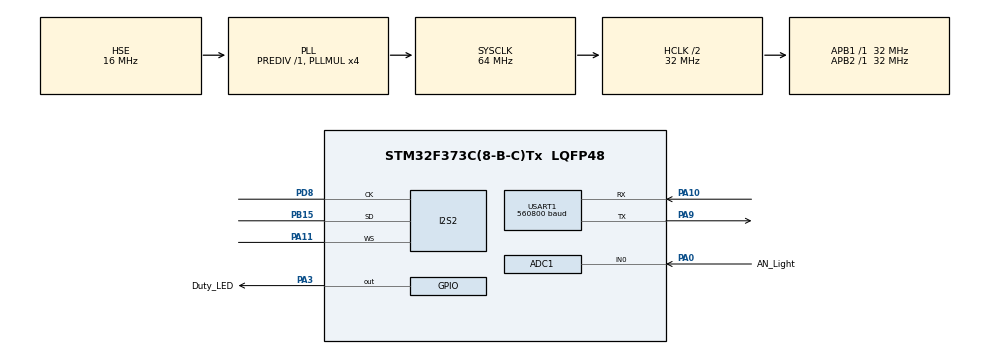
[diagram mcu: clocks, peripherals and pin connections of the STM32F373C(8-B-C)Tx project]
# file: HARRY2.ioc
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ADC1.ContinuousConvMode=DISABLE
ADC1.EnableRegularConversion=DISABLE
ADC1.master=1
Dma.Request0=SPI2_RX
Dma.SPI2_RX.0.Direction=DMA_PERIPH_TO_MEMORY
Dma.SPI2_RX.0.Instance=DMA1_Channel4
Dma.SPI2_RX.0.MemDataAlignment=DMA_MDATAALIGN_HALFWORD
Dma.SPI2_RX.0.MemInc=DMA_MINC_ENABLE
Dma.SPI2_RX.0.Mode=DMA_NORMAL
Dma.SPI2_RX.0.PeriphDataAlignment=DMA_PDATAALIGN_HALFWORD
Dma.SPI2_RX.0.PeriphInc=DMA_PINC_DISABLE
Dma.SPI2_RX.0.Priority=DMA_PRIORITY_LOW
I2S2.AudioFreq=I2S_AUDIOFREQ_8K
I2S2.DataFormat=I2S_DATAFORMAT_24B
I2S2.ErrorAudioFreq=-0.8 %
I2S2.FullDuplexMode=I2S_FULLDUPLEXMODE_DISABLE
I2S2.Instance=SPI$Index
I2S2.Mode=I2S_MODE_MASTER_RX
I2S2.RealAudioFreq=7.936 KHz
I2S2.Standard=I2S_STANDARD_MSB
I2S2.VirtualMode=I2S_MODE_MASTER
Mcu.Family=STM32F3
Mcu.Name=STM32F373C(8-B-C)Tx
Mcu.Package=LQFP48
NVIC.ADC1_IRQn=true\:0\:0\:false\:false\:true\:true
NVIC.DMA1_Channel4_IRQn=true\:0\:0\:false\:false\:true\:false
NVIC.PriorityGroup=NVIC_PRIORITYGROUP_4
PA0.GPIO_Label=AN_Light
PA0.Mode=IN0
PA0.Signal=ADC1_IN0
PA10.Mode=Asynchronous
PA10.Signal=USART1_RX
PA11.Mode=Half_Duplex_Master
PA11.Signal=I2S2_WS
PA13.Mode=Serial_Wire
PA13.Signal=SYS_JTMS-SWDIO
PA14.Mode=Serial_Wire
PA14.Signal=SYS_JTCK-SWCLK
PA3.GPIO_Label=Duty_LED
PA3.Signal=GPIO_Output
PA9.Mode=Asynchronous
PA9.Signal=USART1_TX
PB15.Mode=Half_Duplex_Master
PB15.Signal=I2S2_SD
PD8.Mode=Half_Duplex_Master
PD8.Signal=I2S2_CK
PF0-OSC_IN.Mode=HSE-External-Oscillator
PF0-OSC_IN.Signal=RCC_OSC_IN
PF1-OSC_OUT.Mode=HSE-External-Oscillator
PF1-OSC_OUT.Signal=RCC_OSC_OUT
ProjectManager.HeapSize=0x200
ProjectManager.StackSize=0x400
ProjectManager.TargetToolchain=SW4STM32
RCC.AHBCLKDivider=RCC_SYSCLK_DIV2
RCC.AHBFreq_Value=32000000
RCC.APB1Freq_Value=32000000
RCC.APB1TimFreq_Value=32000000
RCC.APB2Freq_Value=32000000
RCC.APB2TimFreq_Value=32000000
RCC.CortexFreq_Value=32000000
RCC.HCLKFreq_Value=32000000
RCC.HSE_VALUE=16000000
RCC.HSI_VALUE=8000000
RCC.LSE_VALUE=32768
RCC.PLLMUL=RCC_PLL_MUL4
RCC.PLLSourceVirtual=RCC_PLLSOURCE_HSE
RCC.SYSCLKFreq_VALUE=64000000
RCC.SYSCLKSource=RCC_SYSCLKSOURCE_PLLCLK
RCC.USBFreq_Value=64000000
USART1.BaudRate=560800
USART1.VirtualMode-Asynchronous=VM_ASYNC
board=custom

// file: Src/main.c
/* USER CODE BEGIN Header */
/**
  ******************************************************************************
  * @file           : main.c
  * @brief          : Main program body
  ******************************************************************************
  ** This notice applies to any and all portions of this file
  * that are not between comment pairs USER CODE BEGIN and
  * USER CODE END. Other portions of this file, whether
  * inserted by the user or by software development tools
  * are owned by their respective copyright owners.
  *
  * COPYRIGHT(c) 2019 STMicroelectronics
  *
  * Redistribution and use in source and binary forms, with or without modification,
  * are permitted provided that the following conditions are met:
  *   1. Redistributions of source code must retain the above copyright notice,
  *      this list of conditions and the following disclaimer.
  *   2. Redistributions in binary form must reproduce the above copyright notice,
  *      this list of conditions and the following disclaimer in the documentation
  *      and/or other materials provided with the distribution.
  *   3. Neither the name of STMicroelectronics nor the names of its contributors
  *      may be used to endorse or promote products derived from this software
  *      without specific prior written permission.
  *
  * THIS SOFTWARE IS PROVIDED BY THE COPYRIGHT HOLDERS AND CONTRIBUTORS "AS IS"
  * AND ANY EXPRESS OR IMPLIED WARRANTIES, INCLUDING, BUT NOT LIMITED TO, THE
  * IMPLIED WARRANTIES OF MERCHANTABILITY AND FITNESS FOR A PARTICULAR PURPOSE ARE
  * DISCLAIMED. IN NO EVENT SHALL THE COPYRIGHT HOLDER OR CONTRIBUTORS BE LIABLE
  * FOR ANY DIRECT, INDIRECT, INCIDENTAL, SPECIAL, EXEMPLARY, OR CONSEQUENTIAL
  * DAMAGES (INCLUDING, BUT NOT LIMITED TO, PROCUREMENT OF SUBSTITUTE GOODS OR
  * SERVICES; LOSS OF USE, DATA, OR PROFITS; OR BUSINESS INTERRUPTION) HOWEVER
  * CAUSED AND ON ANY THEORY OF LIABILITY, WHETHER IN CONTRACT, STRICT LIABILITY,
  * OR TORT (INCLUDING NEGLIGENCE OR OTHERWISE) ARISING IN ANY WAY OUT OF THE USE
  * OF THIS SOFTWARE, EVEN IF ADVISED OF THE POSSIBILITY OF SUCH DAMAGE.
  *
  ******************************************************************************
  */
/* USER CODE END Header */

#include "main.h"
#include "adc.h"
#include "dma.h"
#include "i2s.h"
#include "usart.h"
#include "gpio.h"

/* USER CODE BEGIN Includes */

#include "tm_stm32_delay.h"
#include "tm_stm32_ds18b20.h"
#include "tm_stm32_onewire.h"

/* USER CODE END Includes */

/* USER CODE BEGIN PV */

/* Onewire structure */
TM_OneWire_t OW;
uint8_t DS_ROM[8];
/* Temperature variable */
float temp;
uint16_t Data1[1000] = { 0 };
uint16_t Data2[1000] = { 0 };
int32_t Audio[250] = { 0 };
int32_t Audio2[1000] = { 0 };
uint16_t Size = 1000;
uint8_t Ready = 0;
uint16_t *produce_ptr, *consume_ptr;
uint8_t which;
uint8_t state;

/* USER CODE END PV */

void SystemClock_Config(void);
/* USER CODE BEGIN PFP */

void ProcessAudio();

/* USER CODE END PFP */

int main(void)
{
  /* USER CODE BEGIN 1 */
	uint32_t value = 12;
	char value_str[50];

  /* USER CODE END 1 */

  /* MCU Configuration--------------------------------------------------------*/

  /* Reset of all peripherals, Initializes the Flash interface and the Systick. */
  HAL_Init();

  /* Configure the system clock */
  SystemClock_Config();

  /* Initialize all configured peripherals */
  MX_GPIO_Init();
  MX_DMA_Init();
  MX_ADC1_Init();
  MX_USART1_UART_Init();
  MX_I2S2_Init();
  /* USER CODE BEGIN 2 */

  /* Init ONEWIRE port */

  TM_OneWire_Init(&OW, GPIOA, GPIO_PIN_2);
  /* Check if any device is connected */
  if (TM_OneWire_First(&OW)) {

	  /* Read ROM number */
	  TM_OneWire_GetFullROM(&OW, DS_ROM);
  } else {
	  /* Set GREEN RED if something is wrong*/
	  setDutyLED();
  }

  if (TM_DS18B20_Is(DS_ROM)) {
          /* Set resolution */
          TM_DS18B20_SetResolution(&OW, DS_ROM, TM_DS18B20_Resolution_12bits);
          TM_DS18B20_StartAll(&OW);
  }

  // Initalize variables for audio processing
  produce_ptr = Data1;
  which = 1;
  state = '0';
  consume_ptr = Data2;
  HAL_I2S_Receive_DMA(&hi2s2, produce_ptr, Size/2);

  /* USER CODE END 2 */

  /* Infinite loop */
  while (1)
  {

    /* USER CODE BEGIN 3 */
	  uint8_t command[1];
	  HAL_StatusTypeDef res;
	  res = HAL_UART_Receive(&huart1, command, 1, 0x0000);

	  if(res!= (HAL_StatusTypeDef)HAL_TIMEOUT){
		  // decoding command
		  state = command[0];
	  }

	  if (is5000msElapsed() && (state == '0'))
	  {
		  //HAL_ADC_Start (&hadc1);
		  if (TM_DS18B20_Is(DS_ROM))
		  {
			  //Everything is done
			  if (TM_DS18B20_AllDone(&OW))
			  {
				  //Read temperature from device
				  if (TM_DS18B20_Read(&OW, DS_ROM, &temp))
				  {
					  //Temp read OK, CRC is OK

					  //Start again on all sensors
					  TM_DS18B20_StartAll(&OW);

				  } else
				  {
					  //CRC failed, hardware problems on data line
					  toggleDutyLED();
				  }
			  }
		  }

		  value = TM_ADC_Read(ADC1, 0);
		  sprintf(value_str,"%d,%.3f",value,temp);
		  debugPrint(value_str);

	  }

	  if ((state == '1') && (Ready == 1))
	  {
		  ProcessAudio();
		  HAL_UART_Transmit(&huart1, (uint8_t*) Audio,  (uint16_t) Size, 0xFFFF);
		  Ready = 0;
	  }
  }
  /* USER CODE END 3 */
}

void SystemClock_Config(void)
{
  RCC_OscInitTypeDef RCC_OscInitStruct = {0};
  RCC_ClkInitTypeDef RCC_ClkInitStruct = {0};
  RCC_PeriphCLKInitTypeDef PeriphClkInit = {0};

  /**Initializes the CPU, AHB and APB busses clocks
  */
  RCC_OscInitStruct.OscillatorType = RCC_OSCILLATORTYPE_HSE;
  RCC_OscInitStruct.HSEState = RCC_HSE_ON;
  RCC_OscInitStruct.HSEPredivValue = RCC_HSE_PREDIV_DIV1;
  RCC_OscInitStruct.HSIState = RCC_HSI_ON;
  RCC_OscInitStruct.PLL.PLLState = RCC_PLL_ON;
  RCC_OscInitStruct.PLL.PLLSource = RCC_PLLSOURCE_HSE;
  RCC_OscInitStruct.PLL.PLLMUL = RCC_PLL_MUL4;
  if (HAL_RCC_OscConfig(&RCC_OscInitStruct) != HAL_OK)
  {
    Error_Handler();
  }
  /**Initializes the CPU, AHB and APB busses clocks
  */
  RCC_ClkInitStruct.ClockType = RCC_CLOCKTYPE_HCLK|RCC_CLOCKTYPE_SYSCLK
                              |RCC_CLOCKTYPE_PCLK1|RCC_CLOCKTYPE_PCLK2;
  RCC_ClkInitStruct.SYSCLKSource = RCC_SYSCLKSOURCE_PLLCLK;
  RCC_ClkInitStruct.AHBCLKDivider = RCC_SYSCLK_DIV2;
  RCC_ClkInitStruct.APB1CLKDivider = RCC_HCLK_DIV1;
  RCC_ClkInitStruct.APB2CLKDivider = RCC_HCLK_DIV1;

  if (HAL_RCC_ClockConfig(&RCC_ClkInitStruct, FLASH_LATENCY_1) != HAL_OK)
  {
    Error_Handler();
  }
  PeriphClkInit.PeriphClockSelection = RCC_PERIPHCLK_USART1|RCC_PERIPHCLK_ADC1;
  PeriphClkInit.Usart1ClockSelection = RCC_USART1CLKSOURCE_PCLK2;
  PeriphClkInit.Adc1ClockSelection = RCC_ADC1PCLK2_DIV2;

  if (HAL_RCCEx_PeriphCLKConfig(&PeriphClkInit) != HAL_OK)
  {
    Error_Handler();
  }
}

/* USER CODE BEGIN 4 */

void ProcessAudio()
{

	int i;
	for (i = 0; i < (Size - 1); i +=1)
	{
		if ((i % 4) == 2)
		{
			uint32_t high = (((uint32_t) (consume_ptr[i] & 0x3fff)) << 9);
			high &= 0x00ffffff;
			uint32_t low = ((consume_ptr[i + 1] & 0xff80) >> 7);
			low &= 0x00ffffff;
			int32_t value = (high + low);
			int sign = consume_ptr[i] & 0x4000;
			if (sign != 0)
			{
				value = value - (1 << 23);
			}
			Audio[(i-2) / 4] = value;
		}
		Audio2[i] = consume_ptr[i];
	}
	Ready = 0;
}

uint8_t getTimeElapsed(uint16_t waitTime)
{
	static volatile uint32_t prevTime = 0;
	static volatile uint32_t currTime = 0;

	currTime = HAL_GetTick();
	if ((currTime - prevTime) >= waitTime)
	{
		prevTime = currTime;
		return TRUE;

	}
	else
	{
		return FALSE;
	}
}

/* USER CODE END 4 */

void Error_Handler(void)
{
}

/************************ (C) COPYRIGHT STMicroelectronics *****END OF FILE****/
